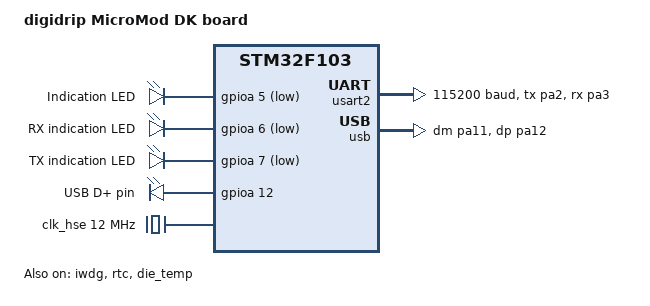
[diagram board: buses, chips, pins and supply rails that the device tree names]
/*
 * Copyright (c) 2025 Christian Hirsch
 *
 * SPDX-License-Identifier: Apache-2.0
 */

/dts-v1/;

#include <st/f1/stm32f103Xb.dtsi>
#include <st/f1/stm32f103t(8-b)ux-pinctrl.dtsi>

/ {
        model = "digidrip MicroMod DK board";
        compatible = "st,stm32f103";

        chosen {
                zephyr,console = &usart2;
                zephyr,shell-uart = &usart2;
                zephyr,sram = &sram0;
                zephyr,flash = &flash0;
        };

        leds {
                compatible = "gpio-leds";
                led_ind: led_ind {
                        gpios = <&gpioa 5 GPIO_ACTIVE_LOW>;
                        label = "Indication LED";
                };
                led_ind_rx: led_ind_rx {
                        gpios = <&gpioa 6 GPIO_ACTIVE_LOW>;
                        label = "RX indication LED";
                };
                led_ind_tx: led_ind_tx {
                        gpios = <&gpioa 7 GPIO_ACTIVE_LOW>;
                        label = "TX indication LED";
                };
                usb_dp: usb_dp {
                        gpios = <&gpioa 12 GPIO_ACTIVE_HIGH>;
                        label = "USB D+ pin";
                };
        };

        aliases {
                led0 = &led_ind;
                watchdog0 = &iwdg;
                die-temp0 = &die_temp;
        };

		//dp0 {
		//	compatible = "zephyr,swdp-gpio";
		//	status = "okay";
		//	clk-gpios = <&gpioa 8 GPIO_ACTIVE_HIGH>;	/* D4 */
		//	dio-gpios = <&gpioa 9 GPIO_PULL_UP>;		/* D2 */
		//	reset-gpios = <&gpioa 10 GPIO_ACTIVE_HIGH>;	/* D7 */
		//	port-write-cycles = <2>;
		//};
};

&clk_lsi {
        status = "okay";
};

&clk_hse {
    status = "okay";
    clock-frequency = <DT_FREQ_M(12)>; // External 12MHz clock
};

&pll {
    status = "okay";
    mul = <6>;
    clocks = <&clk_hse>;
};

&rcc {
    clocks = <&pll>;
    clock-frequency = <DT_FREQ_M(72)>;
    ahb-prescaler = <1>;
    apb1-prescaler = <2>;
	apb2-prescaler = <1>;
    // usbpre not set: USB clock = 72 / 1.5: 48MHz
};

arduino_serial: &usart2 {
        pinctrl-0 = <&usart2_tx_pa2 &usart2_rx_pa3>;
        pinctrl-names = "default";
        current-speed = <115200>;
        status = "okay";
};

&iwdg {
        status = "okay";
};

zephyr_udc0: &usb {
        pinctrl-0 = <&usb_dm_pa11 &usb_dp_pa12>;
        pinctrl-names = "default";
        status = "okay";
		/* maximum-speed = "full-speed"; */
};

&rtc {
        clocks = <&rcc STM32_CLOCK_BUS_APB1 0x10000000>,
                 <&rcc STM32_SRC_LSI RTC_SEL(2)>;
        status = "okay";
};

&die_temp {
        status = "okay";
};
